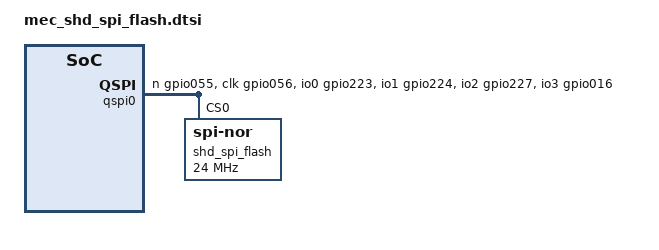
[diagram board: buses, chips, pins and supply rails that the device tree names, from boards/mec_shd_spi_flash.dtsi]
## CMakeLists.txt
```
# Copyright (c) 2022 Microchip Technology Inc.
#
# SPDX-License-Identifier: Apache-2.0
#
cmake_minimum_required(VERSION 3.20.0)

find_package(Zephyr REQUIRED HINTS $ENV{ZEPHYR_BASE})
project(spi)

FILE(GLOB app_sources src/*.c)
target_sources(app PRIVATE ${app_sources})
```

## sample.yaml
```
sample:
  name: Microchip MEC-ASSY6941 board SPI driver sample
tests:
  sample.boards.microchip.mec_assy6941.spi:
    build_only: true
    platform_allow:
      - mec_assy6941/mec1653b_nsz
      - mec_assy6941/mec1743_qlj
      - mec_assy6941/mec1743_qsz
      - mec_assy6941/mec1753_qlj
      - mec_assy6941/mec1753_qsz
    tags: spi
```

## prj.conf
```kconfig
# Enable config log
CONFIG_STDOUT_CONSOLE=y

CONFIG_SPI=y
CONFIG_SPI_EXTENDED_MODES=y
CONFIG_SPI_ASYNC=y
CONFIG_FLASH=y

CONFIG_PM=n
CONFIG_DEBUG=y
```

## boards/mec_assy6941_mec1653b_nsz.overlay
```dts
/*
 * Copyright (c) 2025 Microchip Technology Inc.
 *
 * SPDX-License-Identifier: Apache-2.0
 */

/* MEC1653B-NSZ on MEC_ASSY6941 EVB */
#include "mec_shd_spi_flash.dtsi"
```

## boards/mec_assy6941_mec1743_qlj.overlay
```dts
/*
 * Copyright (c) 2025 Microchip Technology Inc.
 *
 * SPDX-License-Identifier: Apache-2.0
 */

/* MEC1743-QLJ on MEC_ASSY6941 EVB */
#include "mec_shd_spi_flash.dtsi"
```

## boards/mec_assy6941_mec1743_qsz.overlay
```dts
/*
 * Copyright (c) 2025 Microchip Technology Inc.
 *
 * SPDX-License-Identifier: Apache-2.0
 */

/* MEC1743-QSZ on MEC_ASSY6941 EVB */
#include "mec_shd_spi_flash.dtsi"
```

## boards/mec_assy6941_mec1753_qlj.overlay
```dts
/*
 * Copyright (c) 2025 Microchip Technology Inc.
 *
 * SPDX-License-Identifier: Apache-2.0
 */

/* MEC1753-QLJ on MEC_ASSY6941 EVB */
#include "mec_shd_spi_flash.dtsi"
```

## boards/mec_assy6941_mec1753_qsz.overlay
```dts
/*
 * Copyright (c) 2025 Microchip Technology Inc.
 *
 * SPDX-License-Identifier: Apache-2.0
 */

/* MEC1753-QSZ on MEC_ASSY6941 EVB */
#include "mec_shd_spi_flash.dtsi"
```

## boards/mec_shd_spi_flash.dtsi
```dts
/*
 * Copyright (c) 2025 Microchip Technology Inc.
 *
 * SPDX-License-Identifier: Apache-2.0
 */

/* All MEC1xx3 parts support external SPI flashes
 * on the shared or private ports. No internal SPI flash.
 */

/ {
	aliases {
		spi0 = &qspi0;
		spi-flash0 = &shd_spi_flash;
	};
};

&qspi0 {
	compatible = "microchip,mec5-qspi";
	status = "okay";

	pinctrl-0 = < &qspi_shd_cs0_n_gpio055
		      &qspi_shd_clk_gpio056
		      &qspi_shd_io0_gpio223
		      &qspi_shd_io1_gpio224
		      &qspi_shd_io2_gpio227
		      &qspi_shd_io3_gpio016 >;
	pinctrl-names = "default";

	shd_spi_flash: shd_spi_flash@0 {
		compatible = "jedec,spi-nor";
		reg = <0>;
		size = <16777216>;
		spi-max-frequency = <24000000>;
		jedec-id = [ ef 40 18 ];
		status = "okay";
	};
};
```

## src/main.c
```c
/*
 * Copyright (c) 2022 Microchip Technology Inc.
 *
 * SPDX-License-Identifier: Apache-2.0
 */

#include <errno.h>
#include <stdio.h>
#include <string.h>
#include <soc.h>
#include <zephyr/kernel.h>
#include <zephyr/device.h>
#include <zephyr/drivers/spi.h>

/* HAL */
#include <device_mec5.h>
#include <mec_cct_api.h>

#define W25Q128_JEDEC_ID       0x001840efU
#define W25Q128JV_JEDEC_ID     0x001870efU
#define SST26VF016B_JEDEC_ID   0x004126bfU
#define SPI_FLASH_JEDEC_ID_MSK 0x00ffffffu

#define SPI_FLASH_READ_JEDEC_ID_OPCODE 0x9fu

#define SPI_FLASH_READ_STATUS1_OPCODE 0x05u
#define SPI_FLASH_READ_STATUS2_OPCODE 0x35u
#define SPI_FLASH_READ_STATUS3_OPCODE 0x15u

#define SPI_FLASH_WRITE_STATUS1_OPCODE 0x01u
#define SPI_FLASH_WRITE_STATUS2_OPCODE 0x31u
#define SPI_FLASH_WRITE_STATUS3_OPCODE 0x11u

#define SPI_FLASH_WRITE_ENABLE_OPCODE              0x06u
#define SPI_FLASH_WRITE_DISABLE_OPCODE             0x04u
#define SPI_FLASH_WRITE_ENABLE_VOLATILE_STS_OPCODE 0x50u

#define SPI_FLASH_READ_SFDP_CMD 0x5au

#define SPI_FLASH_READ_SLOW_OPCODE 0x03u
#define SPI_FLASH_READ_FAST_OPCODE 0x0bu
#define SPI_FLASH_READ_DUAL_OPCODE 0x3bu
#define SPI_FLASH_READ_QUAD_OPCODE 0x6bu

#define SPI_FLASH_ERASE_SECTOR_OPCODE 0x20u
#define SPI_FLASH_ERASE_BLOCK1_OPCODE 0x52u
#define SPI_FLASH_ERASE_BLOCK2_OPCODE 0xd8u
#define SPI_FLASH_ERASE_CHIP_OPCODE   0xc7u

#define SPI_FLASH_PAGE_PROG_OPCODE 0x02u

#define SPI_FLASH_PAGE_SIZE   256
#define SPI_FLASH_SECTOR_SIZE 4096
#define SPI_FLASH_BLOCK1_SIZE (32 * 1024)
#define SPI_FLASH_BLOCK2_SIZE (64 * 1024)

#define SPI_FLASH_STATUS1_BUSY_POS 0
#define SPI_FLASH_STATUS1_WEL_POS  1

#define SPI_FLASH_STATUS2_SRL_POS     0
#define SPI_FLASH_STATUS2_QE_POS      1
#define SPI_FLASH_STATUS2_SUS_STS_POS 7

#define SPI0_NODE DT_ALIAS(spi0)

struct spi_address {
	uint32_t addr;
	uint8_t byte_len;
};

enum spi_flash_read_cmd {
	CMD_SPI_FLASH_READ_SLOW = 0,
	CMD_SPI_FLASH_READ_FAST,
	CMD_SPI_FLASH_READ_DUAL,
	CMD_SPI_FLASH_READ_QUAD,
	CMD_SPI_FLASH_READ_MAX
};

static const struct device *spi_dev = DEVICE_DT_GET(SPI0_NODE);

static struct spi_config spi_cfg;

static uint32_t jedec_id;

#define SPI_TEST_BUF1_SIZE 256

static uint8_t buf1[SPI_TEST_BUF1_SIZE];

#define SPI_TEST_ADDR1 0xc10000u

#define SPI_FILL_VAL         0x69u
#define SPI_TEST_BUFFER_SIZE (36 * 1024)

struct test_buf {
	union {
		uint32_t w[(SPI_TEST_BUFFER_SIZE) / 4];
		uint16_t h[(SPI_TEST_BUFFER_SIZE) / 2];
		uint8_t b[(SPI_TEST_BUFFER_SIZE)];
	};
};

static struct test_buf tb1;

static bool is_data_buf_filled_with(uint8_t *data, size_t datasz, uint8_t val)
{
	if (!data || !datasz) {
		return false;
	}

	for (size_t i = 0; i < datasz; i++) {
		if (data[i] != val) {
			return false;
		}
	}

	return true;
}

static int spi_flash_format_addr(uint32_t spi_addr, size_t addrsz, uint8_t *buf, size_t bufsz)
{
	if (!buf || (addrsz > 4) || (bufsz < addrsz)) {
		return -EINVAL;
	}

	for (size_t i = 0; i < addrsz; i++) {
		buf[i] = spi_addr >> ((addrsz - i - 1u) * 8);
	}

	return 0;
}

static int spi_flash_read_status(const struct device *dev, struct spi_config *spi_cfg,
				 uint8_t read_status_opcode, uint8_t *status)
{
	struct spi_buf spi_buffers[2];
	uint32_t cmdbuf;
	int err;

	if (!dev || !spi_cfg || !status) {
		return -EINVAL;
	}

	cmdbuf = read_status_opcode;
	spi_buffers[0].buf = &cmdbuf;
	spi_buffers[0].len = 1;
	spi_buffers[1].buf = status;
	spi_buffers[1].len = 1;

	const struct spi_buf_set tx_bufs = {
		.buffers = spi_buffers,
		.count = 2,
	};

	const struct spi_buf_set rx_bufs = {
		.buffers = spi_buffers,
		.count = 2,
	};

	err = spi_transceive(dev, spi_cfg, &tx_bufs, &rx_bufs);

	return err;
}

static int spi_poll_busy(const struct device *dev, struct spi_config *spi_cfg, uint32_t timeout_ms)
{
	int err = 0;
	uint32_t ms = 0;
	uint8_t spi_status = 0;

	if (!dev || !spi_cfg) {
		return -EINVAL;
	}

	spi_status = 0xffu;
	while (timeout_ms) {
		k_busy_wait(2);
		ms += 2u;
		spi_status = 0xffu;
		err = spi_flash_read_status(spi_dev, spi_cfg, SPI_FLASH_READ_STATUS1_OPCODE,
					    &spi_status);
		if (err) {
			return err;
		}

		if ((spi_status & BIT(SPI_FLASH_STATUS1_BUSY_POS)) == 0) {
			return 0;
		}
		if (ms > 1000) {
			timeout_ms--;
		}
	}

	return -ETIMEDOUT;
}

/* SPI flash full-duplex write of command opcode, optional command parameters, and optional data */
static int spi_flash_fd_wr_cpd(const struct device *dev, struct spi_config *spi_cfg, uint8_t cmd,
			       uint8_t *cmdparams, size_t cmdparamsz, uint8_t *data, size_t datasz)
{
	struct spi_buf tx_spi_buffers[3];
	int bufidx = 0, err = 0;
	uint8_t spicmd;

	if (!dev || !spi_cfg || (!cmdparams && cmdparamsz) || (!data && datasz)) {
		return -EINVAL;
	}

	spicmd = cmd;
	tx_spi_buffers[bufidx].buf = &spicmd;
	tx_spi_buffers[bufidx++].len = 1;
	if (cmdparams && cmdparamsz) {
		tx_spi_buffers[bufidx].buf = cmdparams;
		tx_spi_buffers[bufidx++].len = cmdparamsz;
	}
	if (data && datasz) {
		tx_spi_buffers[bufidx].buf = data;
		tx_spi_buffers[bufidx++].len = datasz;
	}

	const struct spi_buf_set tx_bufs = {
		.buffers = tx_spi_buffers,
		.count = bufidx,
	};

	err = spi_transceive(dev, spi_cfg, &tx_bufs, NULL);

	return err;
}

static int spi_flash_read_fd_sync(const struct device *dev, struct spi_config *spi_cfg,
				  struct spi_address *spi_addr, uint8_t *data, size_t datasz,
				  uint8_t opcode)
{
	uint8_t txdata[8] = {0};
	struct spi_buf spi_bufs[3] = {0};
	int cnt = 0, err = 0;
	size_t param_len = 0;

	if (!dev || !spi_cfg || !data || !datasz) {
		return -EINVAL;
	}

	txdata[0] = opcode;
	if (spi_addr) {
		if (spi_addr->byte_len > 4) {
			return -EINVAL;
		}
		err = spi_flash_format_addr(spi_addr->addr, spi_addr->byte_len, &txdata[1],
					    sizeof(txdata) - 1);
		if (err) {
			return err;
		}
		param_len += spi_addr->byte_len;
	}

	spi_bufs[cnt].buf = txdata;
	spi_bufs[cnt++].len = param_len + 1;

	if (opcode == SPI_FLASH_READ_FAST_OPCODE) {
		spi_bufs[cnt].buf = NULL; /* 8 clocks with output tri-stated */
		spi_bufs[cnt++].len = 1;
	}

	spi_bufs[cnt].buf = data;
	spi_bufs[cnt++].len = datasz;

	const struct spi_buf_set txset = {
		.buffers = &spi_bufs[0],
		.count = cnt,
	};
	const struct spi_buf_set rxset = {
		.buffers = &spi_bufs[0],
		.count = cnt,
	};

	err = spi_transceive(dev, spi_cfg, &txset, &rxset);
	if (err) {
		return err;
	}

	return 0;
}

static int spi_flash_erase_region(const struct device *dev, struct spi_config *spi_cfg,
				  uint8_t erase_opcode, struct spi_address *spi_addr,
				  int timeout_ms)
{
	int err = 0;
	uint8_t cmdparams[4] = {0};

	if (!dev || !spi_cfg || !spi_addr) {
		return -EINVAL;
	}

	err = spi_flash_format_addr(spi_addr->addr, spi_addr->byte_len, cmdparams,
				    sizeof(cmdparams));
	if (err) {
		return err;
	}

	err = spi_flash_fd_wr_cpd(dev, spi_cfg, erase_opcode, cmdparams, spi_addr->byte_len, NULL,
				  0);
	if (err) {
		return err;
	}

	err = spi_poll_busy(dev, spi_cfg, timeout_ms);

	return err;
}

#ifdef CONFIG_SPI_ASYNC
#define NUM_ASYNC_SPI_BUFS 8

static volatile int spi_async_done;
static volatile int spi_async_status;
static volatile void *spi_async_userdata;

static struct spi_buf_set txbs;
static struct spi_buf_set rxbs;
static struct spi_buf sb[NUM_ASYNC_SPI_BUFS];
static uint8_t spi_async_txbuf[8];

static void spi_cb(const struct device *dev, int status, void *userdata)
{
	spi_async_status = status;
	spi_async_userdata = userdata;
	spi_async_done = 1;
}

static int spi_flash_read_fd_async(const struct device *dev, struct spi_config *spi_cfg,
				   struct spi_address *spi_addr, uint8_t *data, size_t datasz,
				   uint8_t opcode, spi_callback_t cb, void *userdata)
{
	int cnt = 0, err = 0;
	size_t param_len = 0;

	if (!dev || !spi_cfg || !data || !datasz) {
		return -EINVAL;
	}

	spi_async_txbuf[0] = opcode;
	if (spi_addr) {
		if (spi_addr->byte_len > 4) {
			return -EINVAL;
		}
		err = spi_flash_format_addr(spi_addr->addr, spi_addr->byte_len, &spi_async_txbuf[1],
					    sizeof(spi_async_txbuf) - 1);
		if (err) {
			return err;
		}
		param_len += spi_addr->byte_len;
	}

	sb[cnt].buf = spi_async_txbuf;
	sb[cnt++].len = param_len + 1;

	if (opcode == SPI_FLASH_READ_FAST_OPCODE) {
		sb[cnt].buf = NULL; /* 8 clocks with output tri-stated */
		sb[cnt++].len = 1;
	}

	sb[cnt].buf = data;
	sb[cnt++].len = datasz;

	txbs.buffers = &sb[0];
	txbs.count = cnt;

	rxbs.buffers = &sb[0];
	rxbs.count = cnt;

	/* these parameters cannot be stack local to his function */
	err = spi_transceive_cb(dev, spi_cfg, &txbs, &rxbs, cb, userdata);
	if (err) {
		return err;
	}

	return 0;
}
#endif

struct mec_cct_cap_config capcfg;

int main(void)
{
	int err;
	uint32_t wait_count;
	size_t spi_len;
	struct spi_address spi_addr;
	uint8_t spi_status1, spi_status2;
	bool quad_enabled = false;

	capcfg.edge = MEC_CCT_CAP_IDET_RE;
	capcfg.enable = 1u;
	capcfg.filter_bypass = 1u;
	capcfg.filter_clk = 5u;
	capcfg.prog_mux = 1u;
	capcfg.mux_sel = 0xAu;

	err = mec_hal_cct_cap_cfg(MEC_CCT0_BASE, 1u, &capcfg);
	printf("HAL CCT capture config returned (%d)", err);

	spi_cfg.frequency = MHZ(24);
	spi_cfg.operation = SPI_WORD_SET(8) | SPI_LINES_SINGLE;

	if (!device_is_ready(spi_dev)) {
		printf("SPI 0 device not ready!\n");
		return -1;
	}

	memset(sb, 0, sizeof(sb));
	memset(buf1, 0, sizeof(buf1));
	memset((void *)&tb1, 0x55, sizeof(tb1));

	jedec_id = 0;
	err = spi_flash_read_fd_sync(spi_dev, &spi_cfg, NULL, (uint8_t *)&jedec_id, 3u,
				     SPI_FLASH_READ_JEDEC_ID_OPCODE);
	if (err) {
		printf("Read JEDEC_ID error %d\n", err);
		return err;
	}

	printf("JEDEC ID = 0x%08x\n", jedec_id);
	if (jedec_id == W25Q128_JEDEC_ID) {
		printf("W25Q128 16Mbyte SPI flash\n");
	} else if (jedec_id == W25Q128JV_JEDEC_ID) {
		printf("W25Q128JV 16Mbyte SPI flash\n");
	} else if (jedec_id == SST26VF016B_JEDEC_ID) {
		printf("SST26VF016B 16MByte SPI flash\n");
	} else {
		printf("Unknown SPI flash device\n");
		return -EIO;
	}

	spi_status1 = 0xffu;
	err = spi_flash_read_status(spi_dev, &spi_cfg, SPI_FLASH_READ_STATUS1_OPCODE, &spi_status1);
	if (err) {
		printf("Read SPI flash Status1 error: %d\n", err);
		return err;
	}

	printf("SPI Flash Status1 = 0x%02x\n", spi_status1);

	spi_status2 = 0xffu;
	err = spi_flash_read_status(spi_dev, &spi_cfg, SPI_FLASH_READ_STATUS2_OPCODE, &spi_status2);
	if (err) {
		printf("Read SPI flash STATUS2 error: %d\n", err);
		return err;
	}

	printf("SPI Flash Status2 = 0x%02x\n", spi_status2);
	if (spi_status2 & BIT(SPI_FLASH_STATUS2_QE_POS)) {
		quad_enabled = true;
		printf("Quad-Enable bit is set. WP# and HOLD# are IO[2] and IO[3]\n");
	}
	if (spi_status2 & BIT(SPI_FLASH_STATUS2_SRL_POS)) {
		printf("SPI Flash Status registers are locked!\n");
	}
	if (spi_status2 & BIT(SPI_FLASH_STATUS2_SUS_STS_POS)) {
		printf("SPI Flash is in Suspend state\n");
	}

	spi_addr.addr = SPI_TEST_ADDR1;
	spi_addr.byte_len = 3u;

	int num_sectors = 1u;

	if (SPI_TEST_BUFFER_SIZE > SPI_FLASH_SECTOR_SIZE) {
		num_sectors = SPI_TEST_BUFFER_SIZE / SPI_FLASH_SECTOR_SIZE;
	}

	for (int i = 0; i < num_sectors; i++) {
		printf("Transmit SPI flash Write-Enable\n");
		err = spi_flash_fd_wr_cpd(spi_dev, &spi_cfg, SPI_FLASH_WRITE_ENABLE_OPCODE, NULL, 0,
					  NULL, 0);
		if (err) {
			printf("ERROR: transmit SPI flash Write-Enable: error %d\n", err);
			return err;
		}

		printf("Transmit Erase-Sector at 0x%08x\n", spi_addr.addr);
		err = spi_flash_erase_region(spi_dev, &spi_cfg, SPI_FLASH_ERASE_SECTOR_OPCODE,
					     &spi_addr, 1000u);
		if (err) {
			printf("SPI flash erase sector error %d\n", err);
			return err;
		}

		spi_addr.addr += SPI_FLASH_SECTOR_SIZE;
	}

	printf("\nRead and check erased sectors using Read 1-1-1-0\n");

	spi_addr.addr = SPI_TEST_ADDR1;
	spi_addr.byte_len = 3u;

	for (int i = 0; i < num_sectors; i++) {
		memset(&tb1.b[0], 0x55, SPI_FLASH_SECTOR_SIZE);
		err = spi_flash_read_fd_sync(spi_dev, &spi_cfg, &spi_addr, &tb1.b[0],
					     SPI_FLASH_SECTOR_SIZE, SPI_FLASH_READ_SLOW_OPCODE);
		if (err) {
			printf("Read slow error %d\n", err);
			return err;
		}

		if (is_data_buf_filled_with(&tb1.b[0], SPI_FLASH_SECTOR_SIZE, 0xffu)) {
			printf("Sector at 0x%08x is erased\n", spi_addr.addr);
		} else {
			printf("FAIL: sector at 0x%08x is not erased\n", spi_addr.addr);
			return -1;
		}

		spi_addr.addr += SPI_FLASH_SECTOR_SIZE;
	}

	printf("Fill buffers for %d sectors and program flash region\n", num_sectors);

	for (int i = 0; i < SPI_TEST_BUFFER_SIZE; i++) {
		tb1.b[i] = SPI_FILL_VAL;
	}

	printf("\nProgram erased sectors\n");

	int num_pages = SPI_TEST_BUFFER_SIZE / SPI_FLASH_PAGE_SIZE;
	int offset = 0;

	spi_addr.addr = SPI_TEST_ADDR1;
	spi_addr.byte_len = 3u;

	for (int i = 0; i < num_pages; i++) {
		err = spi_flash_format_addr(spi_addr.addr, spi_addr.byte_len, buf1, sizeof(buf1));
		if (err) {
			printf("ERROR: format SPI address: %d\n", err);
			return err;
		}

		printf("Page at 0x%08x: Transmit SPI flash Write-Enable, "
		       "Page-Program, and poll status\n",
		       spi_addr.addr);
		err = spi_flash_fd_wr_cpd(spi_dev, &spi_cfg, SPI_FLASH_WRITE_ENABLE_OPCODE, NULL, 0,
					  NULL, 0);
		if (err) {
			printf("ERROR: transmit SPI flash Write-Enable: %d\n", err);
			return err;
		}

		err = spi_flash_fd_wr_cpd(spi_dev, &spi_cfg, SPI_FLASH_PAGE_PROG_OPCODE, buf1,
					  spi_addr.byte_len, &tb1.b[offset], SPI_FLASH_PAGE_SIZE);
		if (err) {
			printf("ERROR: transmit SPI Page-Program: %d\n", err);
			return err;
		}

		err = spi_poll_busy(spi_dev, &spi_cfg, 100);
		if (err) {
			printf("ERROR: Poll SPI busy status: %d\n", err);
			return err;
		}

		spi_addr.addr += SPI_FLASH_PAGE_SIZE;
		offset += SPI_FLASH_PAGE_SIZE;
	}

	/* Read and check if programmed */
	spi_addr.addr = SPI_TEST_ADDR1;
	spi_addr.byte_len = 3u;
	spi_len = num_pages * SPI_FLASH_PAGE_SIZE;

	memset(&tb1.b[0], 0, sizeof(tb1));
	printf("Read %u bytes from 0x%08x using SPI Read 1-1-1-0\n", spi_len, spi_addr.addr);
	err = spi_flash_read_fd_sync(spi_dev, &spi_cfg, &spi_addr, &tb1.b[0], spi_len,
				     SPI_FLASH_READ_SLOW_OPCODE);
	if (err) {
		printf("Read slow error %d\n", err);
		return err;
	}

	if (is_data_buf_filled_with(&tb1.b[0], spi_len, SPI_FILL_VAL)) {
		printf("Data matches\n");
	} else {
		printf("FAIL: data mismatch\n");
		return -1;
	}

	memset(&tb1.b[0], 0, sizeof(tb1));
	printf("Read %u bytes from 0x%08x using SPI Read 1-1-1-8\n", spi_len, spi_addr.addr);
	err = spi_flash_read_fd_sync(spi_dev, &spi_cfg, &spi_addr, &tb1.b[0], spi_len,
				     SPI_FLASH_READ_FAST_OPCODE);
	if (err) {
		printf("Read fast error %d\n", err);
		return err;
	}

	if (is_data_buf_filled_with(&tb1.b[0], spi_len, SPI_FILL_VAL)) {
		printf("Data matches\n");
	} else {
		printf("FAIL: data mismatch\n");
		return -1;
	}

#ifdef CONFIG_SPI_ASYNC
	memset(&tb1.b[0], 0, sizeof(tb1));

	spi_async_status = 0;
	spi_async_userdata = 0;
	spi_async_done = 0;
	wait_count = 0;

	err = spi_flash_read_fd_async(spi_dev, &spi_cfg, &spi_addr, &tb1.b[0], spi_len,
				      SPI_FLASH_READ_FAST_OPCODE, spi_cb,
				      (void *)spi_async_userdata);
	if (err) {
		printf("ERROR: SPI async full-duplex error: %d\n", err);
		return err;
	}

	while (spi_async_done == 0) {
		wait_count++;
	}

	printf("SPI Async read done: wait count = %u\n", wait_count);
	printf("SPI Async done = %d\n", spi_async_done);
	printf("SPI Async status = %d\n", spi_async_status);
	printf("SPI Async userdata = %p\n", spi_async_userdata);

	if (is_data_buf_filled_with(&tb1.b[0], spi_len, SPI_FILL_VAL)) {
		printf("Data matches\n");
	} else {
		printf("FAIL: data mismatch\n");
		return -1;
	}
#endif

	printf("\nProgram End\n");
	return 0;
}
```
